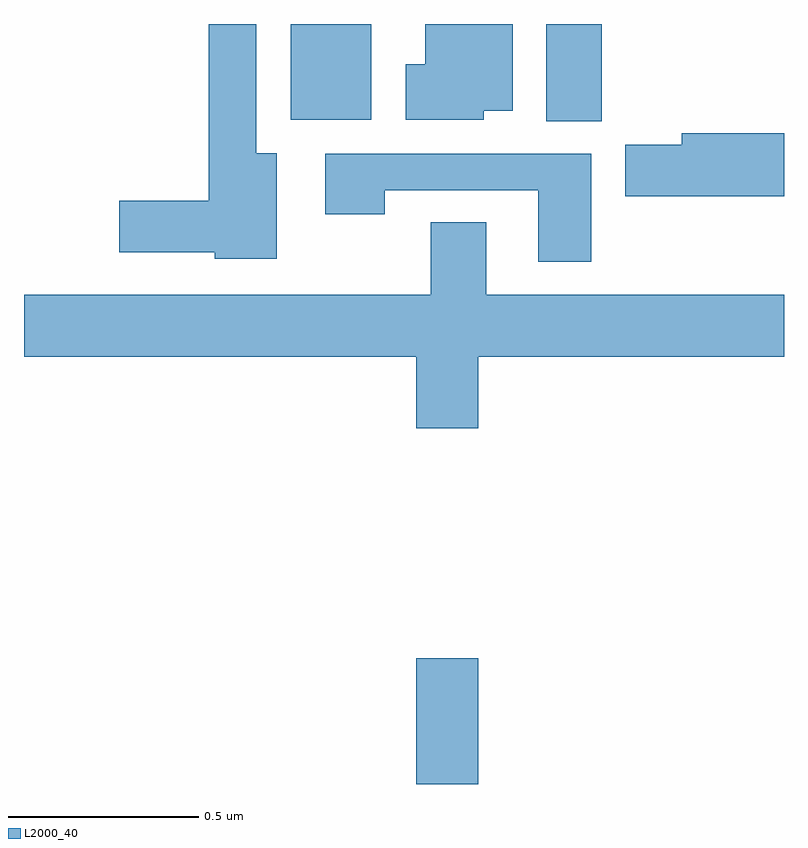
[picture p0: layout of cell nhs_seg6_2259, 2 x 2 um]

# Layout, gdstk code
import gdstk
lib = gdstk.Library(unit=1e-6, precision=1e-09)
def R(c, l, rs):  # rectangles x0, y0, x1, y1
    for r in rs: c.add(gdstk.rectangle(r[:2], r[2:], *l))
def P(c, l, *ps):  # polygons
    for p in ps: c.add(gdstk.Polygon(p, *l))
L2000_40 = (2000, 40)

nhs_seg6_2259 = lib.new_cell('nhs_seg6_2259')
R(nhs_seg6_2259, L2000_40, [(141.032,991.5,141.196,991.831), (141.374,993.244,141.521,993.5), (140.702,993.248,140.914,993.5)])
P(nhs_seg6_2259, L2000_40, [(141.21,993.272),(141.286,993.272),(141.286,993.5),(141.056,993.5),(141.056,993.394),(141.005,993.394),(141.005,993.248),(141.21,993.248)],
  [(140.665,993.16),(140.611,993.16),(140.611,993.5),(140.486,993.5),(140.486,993.035),(140.25,993.035),(140.25,992.9),(140.502,992.9),(140.502,992.882),(140.665,992.882)],
  [(142,993.212),(141.731,993.212),(141.731,993.182),(141.582,993.182),(141.582,993.047),(142,993.047)],
  [(141.493,993.159),(140.793,993.159),(140.793,993),(140.949,993),(140.949,993.063),(141.353,993.063),(141.353,992.874),(141.493,992.874)],
  [(141.196,992.624),(142,992.624),(142,992.788),(141.217,992.788),(141.217,992.978),(141.07,992.978),(141.07,992.788),(140,992.788),(140,992.624),(141.032,992.624),(141.032,992.436),(141.196,992.436)])

lib.write_gds('nhs_seg6_2259.gds')
